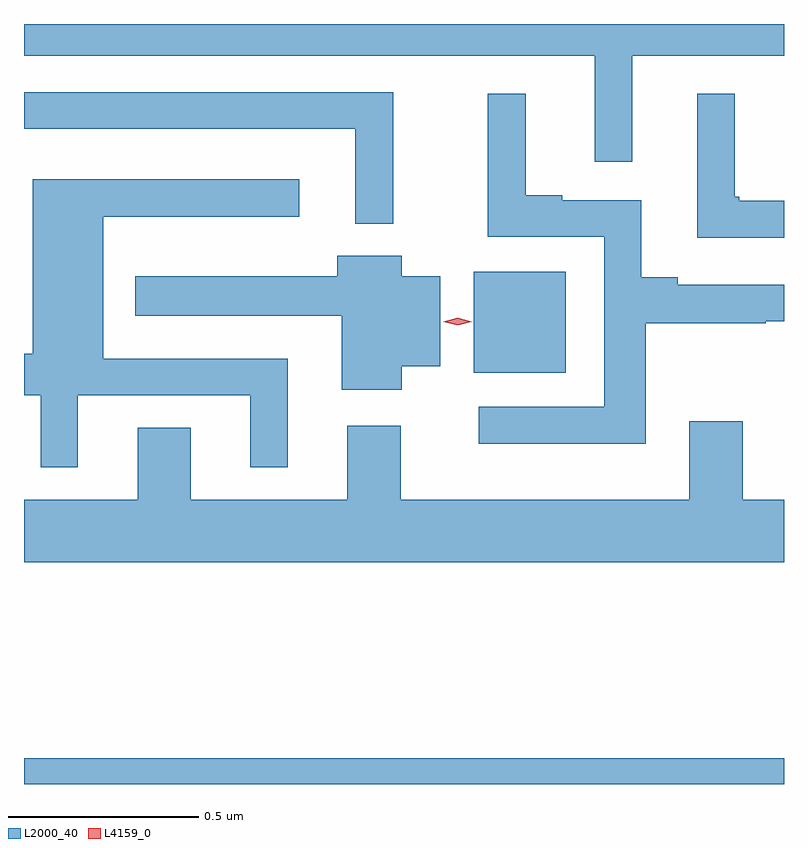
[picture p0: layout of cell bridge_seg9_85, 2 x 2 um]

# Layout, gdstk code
import gdstk
lib = gdstk.Library(unit=1e-6, precision=1e-09)
def R(c, l, rs):  # rectangles x0, y0, x1, y1
    for r in rs: c.add(gdstk.rectangle(r[:2], r[2:], *l))
def P(c, l, *ps):  # polygons
    for p in ps: c.add(gdstk.Polygon(p, *l))
L2000_40 = (2000, 40)
L4159_0 = (4159, 0)

bridge_seg9_85 = lib.new_cell('bridge_seg9_85')
R(bridge_seg9_85, L2000_40, [(837.054,1231.8,839.054,1231.868), (838.238,1232.882,838.48,1233.148)])
P(bridge_seg9_85, L2000_40, [(838.654,1233.716),(839.054,1233.716),(839.054,1233.8),(837.054,1233.8),(837.054,1233.716),(838.556,1233.716),(838.556,1233.438),(838.654,1233.438)],
  [(838.026,1233.621),(837.054,1233.621),(837.054,1233.524),(837.926,1233.524),(837.926,1233.275),(838.026,1233.275)],
  [(839.054,1233.335),(838.936,1233.335),(838.936,1233.346),(838.924,1233.346),(838.924,1233.616),(838.826,1233.616),(838.826,1233.237),(839.054,1233.237)],
  [(838.69,1233.013),(839.006,1233.013),(839.006,1233.018),(839.054,1233.018),(839.054,1233.114),(838.774,1233.114),(838.774,1233.134),(838.678,1233.134),(838.678,1233.336),(838.471,1233.336),(838.471,1233.349),(838.375,1233.349),(838.375,1233.616),(838.274,1233.616),(838.274,1233.24),(838.581,1233.24),(838.581,1232.793),(838.251,1232.793),(838.251,1232.696),(838.69,1232.696)],
  [(837.196,1232.823),(837.65,1232.823),(837.65,1232.633),(837.748,1232.633),(837.748,1232.919),(837.262,1232.919),(837.262,1233.293),(837.778,1233.293),(837.778,1233.391),(837.077,1233.391),(837.077,1232.932),(837.054,1232.932),(837.054,1232.823),(837.098,1232.823),(837.098,1232.633),(837.196,1232.633)],
  [(838.048,1232.9),(838.15,1232.9),(838.15,1233.136),(838.048,1233.136),(838.048,1233.19),(837.878,1233.19),(837.878,1233.136),(837.347,1233.136),(837.347,1233.032),(837.89,1233.032),(837.89,1232.838),(838.048,1232.838)],
  [(839.054,1232.548),(838.945,1232.548),(838.945,1232.755),(838.805,1232.755),(838.805,1232.548),(838.045,1232.548),(838.045,1232.743),(837.905,1232.743),(837.905,1232.548),(837.493,1232.548),(837.493,1232.738),(837.353,1232.738),(837.353,1232.548),(837.054,1232.548),(837.054,1232.384),(839.054,1232.384)])
P(bridge_seg9_85, L4159_0, [(838.195,1233.007),(838.157,1233.017),(838.157,1233.017),(838.157,1233.017),(838.195,1233.027),(838.232,1233.017),(838.233,1233.017),(838.232,1233.017)])

lib.write_gds('bridge_seg9_85.gds')
